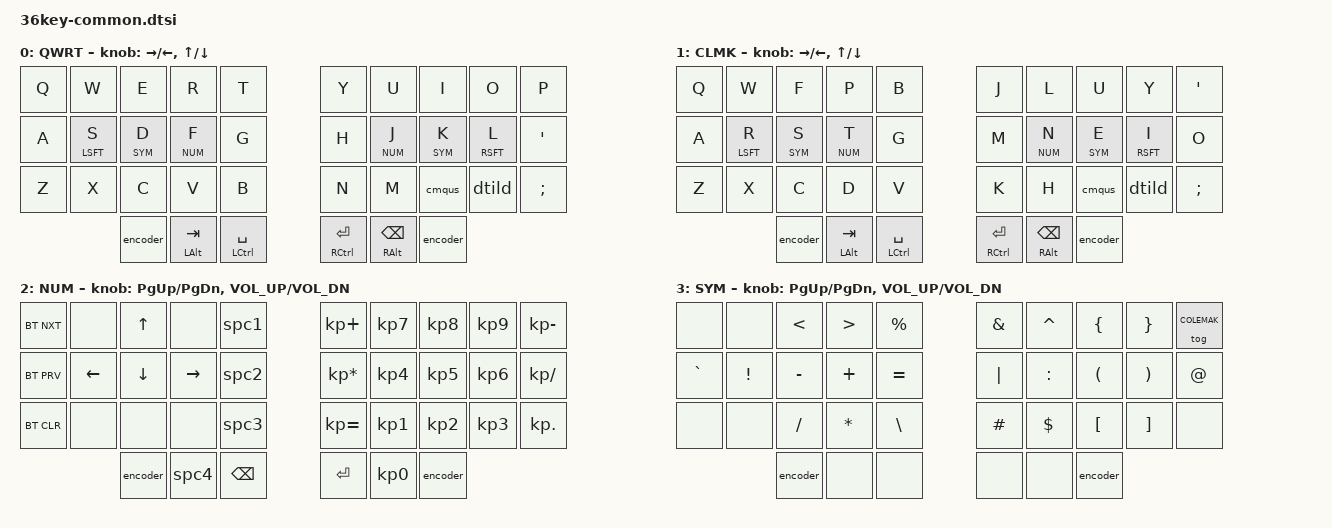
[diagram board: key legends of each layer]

#define DEFAULT 0
#define COLEMAK 1
#define NUM     2
#define SYM     3

&mt {
   flavor = "tap-preferred";
   tapping_term_ms = <200>;
};

/ { 
  #include "key-common.dtsi"

    keymap {
        compatible = "zmk,keymap";
                
     		default_layer {
            label = "QWRT";
        		bindings = <
            		&kp Q &kp W      &kp E     &kp R     &kp T    &kp Y &kp U     &kp I      &kp O       &kp P
             		&kp A &mt LSFT S &lt SYM D &lt NUM F &kp G    &kp H &lt NUM J &lt SYM K  &mt RSFT L  &kp SQT 
                &kp Z &kp X      &kp C     &kp V     &kp B    &kp N &kp M     &cmqus     &dtild      &kp SEMI
                    &encoder  &mt LALT TAB  &mt LCTL SPACE    &mt RCTL RET    &mt RALT BSPC &encoder
             		>;
                sensor-bindings = <&inc_dec_kp RIGHT LEFT &inc_dec_kp UP DOWN>;
		    };

     		colemak_layer {
            label = "CLMK";
        		bindings = <
            		&kp Q &kp W      &kp F     &kp P     &kp B    &kp J &kp L     &kp U     &kp Y      &kp SQT
             		&kp A &mt LSFT R &lt SYM S &lt NUM T &kp G    &kp M &lt NUM N &lt SYM E &mt RSFT I &kp O
                &kp Z &kp X      &kp C     &kp D     &kp V    &kp K &kp H     &cmqus    &dtild     &kp SEMI
                    &encoder  &mt LALT TAB  &mt LCTL SPACE    &mt RCTL RET    &mt RALT BSPC  &encoder
             		>;
                sensor-bindings = <&inc_dec_kp RIGHT LEFT &inc_dec_kp UP DOWN>;
		    };

        number_layer {
            label = "NUM";
            bindings = <
                &bt BT_NXT  &none     &kp UP    &none      &spc1      &kp KP_PLUS     &kp KP_N7 &kp KP_N8 &kp KP_N9 &kp KP_MINUS
                &bt BT_PRV  &kp LEFT  &kp DOWN  &kp RIGHT  &spc2      &kp KP_MULTIPLY &kp KP_N4 &kp KP_N5 &kp KP_N6 &kp KP_DIVIDE
                &bt BT_CLR  &none     &none     &none      &spc3      &kp KP_EQUAL    &kp KP_N1 &kp KP_N2 &kp KP_N3 &kp KP_DOT
                                      &encoder  &spc4      &kp BSPC      &kp RET         &kp KP_N0  &encoder
            >;
                  sensor-bindings = <&inc_dec_kp PG_UP PG_DN &inc_dec_kp C_VOL_UP C_VOL_DN>;
        };

        symbol_layer {
            label = "SYM";
            bindings = <
                &none     &none    &kp LT    &kp GT   &kp PRCNT   &kp AMPS &kp CARET &kp LBRC &kp RBRC &tog COLEMAK
                &kp GRAVE &kp EXCL &kp MINUS &kp PLUS &kp EQUAL   &kp PIPE &kp COLON &kp LPAR &kp RPAR &kp AT
                &none     &none    &kp SLASH &kp STAR &kp BSLH    &kp HASH &kp DLLR  &kp LBKT &kp RBKT &none  
                                      &encoder  &none    &none       &none    &none  &encoder
            >;
                sensor-bindings = <&inc_dec_kp PG_UP PG_DN &inc_dec_kp C_VOL_UP C_VOL_DN>;
        };
        
   	};
};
